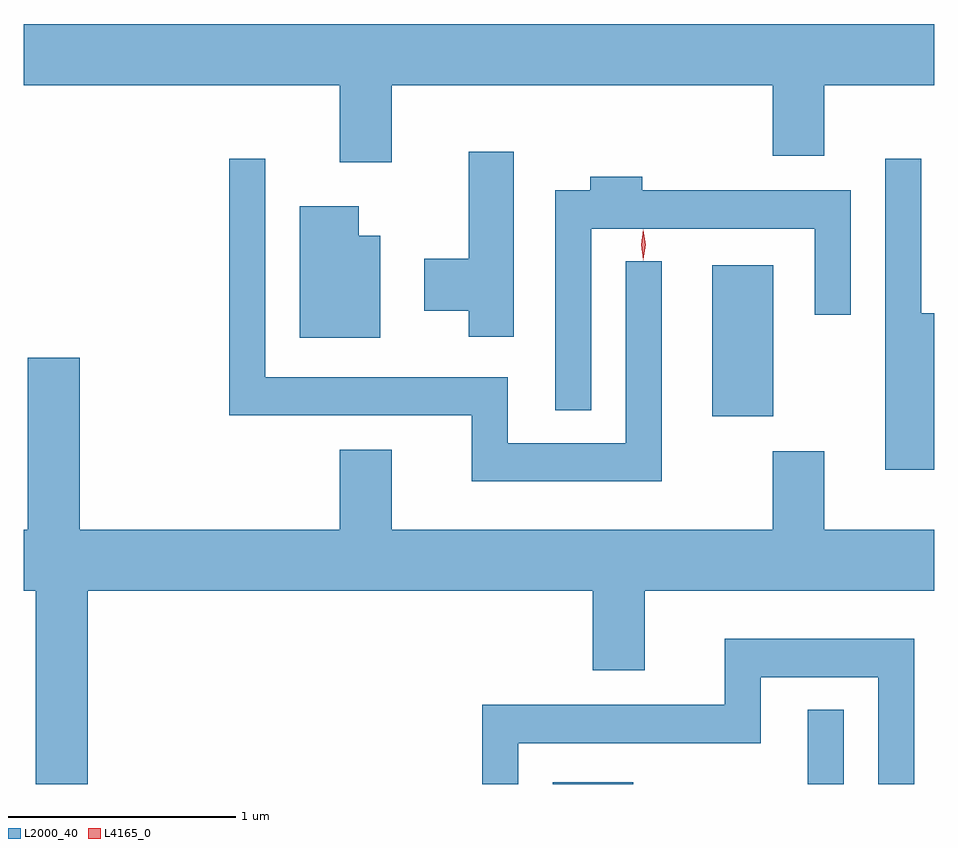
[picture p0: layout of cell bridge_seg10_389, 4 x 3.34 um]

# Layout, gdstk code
import gdstk
lib = gdstk.Library(unit=1e-6, precision=1e-09)
def R(c, l, rs):  # rectangles x0, y0, x1, y1
    for r in rs: c.add(gdstk.rectangle(r[:2], r[2:], *l))
def P(c, l, *ps):  # polygons
    for p in ps: c.add(gdstk.Polygon(p, *l))
L2000_40 = (2000, 40)
L4165_0 = (4165, 0)

bridge_seg10_389 = lib.new_cell('bridge_seg10_389')
R(bridge_seg10_389, L2000_40, [(1370.066,2144.147,1370.419,2144.154), (1371.186,2144.147,1371.344,2144.473), (1370.766,2145.761,1371.034,2146.424)])
P(bridge_seg10_389, L2000_40, [(1369.359,2147.216),(1371.031,2147.216),(1371.031,2146.906),(1371.259,2146.906),(1371.259,2147.216),(1371.742,2147.216),(1371.742,2147.484),(1367.742,2147.484),(1367.742,2147.216),(1369.131,2147.216),(1369.131,2146.876),(1369.359,2146.876)],
  [(1369.894,2146.924),(1369.696,2146.924),(1369.696,2146.454),(1369.501,2146.454),(1369.501,2146.226),(1369.696,2146.226),(1369.696,2146.111),(1369.894,2146.111)],
  [(1371.742,2146.214),(1371.684,2146.214),(1371.684,2146.893),(1371.526,2146.893),(1371.526,2145.526),(1371.742,2145.526)],
  [(1370.544,2146.443),(1370.386,2146.443),(1370.386,2145.644),(1369.869,2145.644),(1369.869,2145.934),(1368.804,2145.934),(1368.804,2146.893),(1368.646,2146.893),(1368.646,2145.766),(1369.711,2145.766),(1369.711,2145.476),(1370.544,2145.476)],
  [(1370.234,2146.586),(1371.216,2146.586),(1371.216,2146.208),(1371.374,2146.208),(1371.374,2146.754),(1370.459,2146.754),(1370.459,2146.814),(1370.231,2146.814),(1370.231,2146.754),(1370.076,2146.754),(1370.076,2145.788),(1370.234,2145.788)],
  [(1369.309,2146.554),(1369.214,2146.554),(1369.214,2146.684),(1368.956,2146.684),(1368.956,2146.106),(1369.309,2146.106)],
  [(1368.024,2144.996),(1370.241,2144.996),(1370.241,2144.646),(1370.469,2144.646),(1370.469,2144.996),(1371.742,2144.996),(1371.742,2145.264),(1371.259,2145.264),(1371.259,2145.609),(1371.031,2145.609),(1371.031,2145.264),(1369.359,2145.264),(1369.359,2145.614),(1369.131,2145.614),(1369.131,2145.264),(1367.989,2145.264),(1367.989,2146.019),(1367.761,2146.019),(1367.761,2145.264),(1367.742,2145.264),(1367.742,2144.996),(1367.796,2144.996),(1367.796,2144.147),(1368.024,2144.147)],
  [(1369.914,2144.326),(1370.979,2144.326),(1370.979,2144.616),(1371.496,2144.616),(1371.496,2144.147),(1371.654,2144.147),(1371.654,2144.784),(1370.821,2144.784),(1370.821,2144.494),(1369.756,2144.494),(1369.756,2144.147),(1369.914,2144.147)])
P(bridge_seg10_389, L4165_0, [(1370.464,2146.447),(1370.463,2146.448),(1370.454,2146.514),(1370.463,2146.58),(1370.463,2146.58),(1370.464,2146.58),(1370.474,2146.514),(1370.464,2146.448)])

lib.write_gds('bridge_seg10_389.gds')
